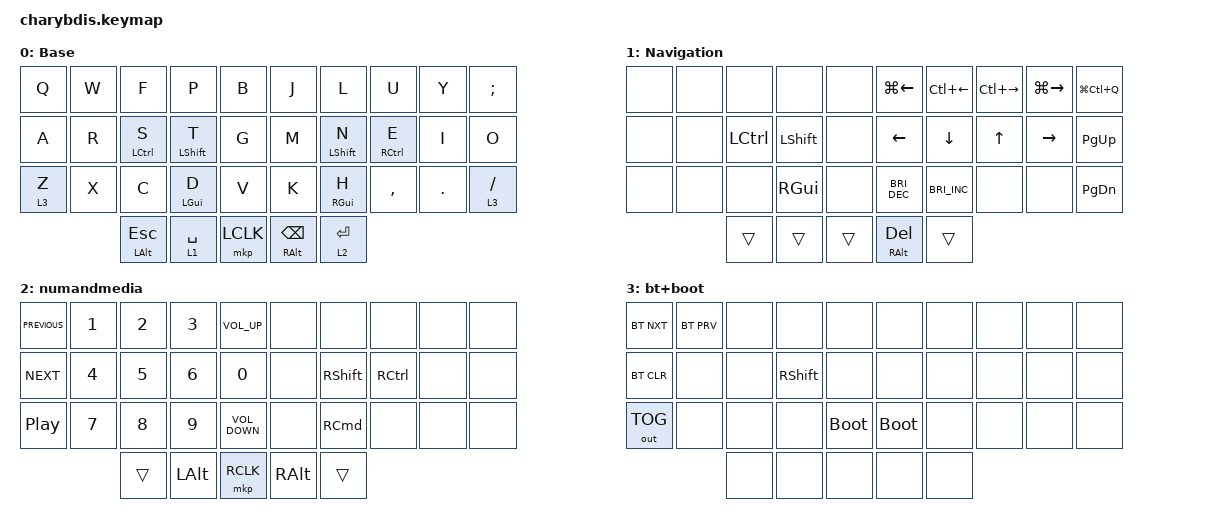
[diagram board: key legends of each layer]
#include <dt-bindings/zmk/mouse.h>
#include <behaviors.dtsi>
#include <dt-bindings/zmk/bt.h>
#include <dt-bindings/zmk/keys.h>
#include <dt-bindings/zmk/outputs.h>

/ {
    trackball_listener {
        compatible = "zmk,input-behavior-listener";
        device = <&vtrackball>;
        layers = <0>;
        evt-type = <INPUT_EV_REL>;
        x-input-code = <INPUT_REL_X>;
        y-input-code = <INPUT_REL_Y>;
        scale-multiplier = <1>;
        scale-divisor = <4>;
    };

    trackball_snipe_listener {
        compatible = "zmk,input-behavior-listener";
        device = <&vtrackball>;
        layers = <3>;
        evt-type = <INPUT_EV_REL>;
        x-input-code = <INPUT_REL_X>;
        y-input-code = <INPUT_REL_Y>;
        scale-multiplier = <1>;
        scale-divisor = <12>;
    };

    trackball_scroll_listener {
        compatible = "zmk,input-behavior-listener";
        device = <&vtrackball>;
        layers = <1>;
        evt-type = <INPUT_EV_REL>;
        x-input-code = <INPUT_REL_MISC>;
        y-input-code = <INPUT_REL_WHEEL>;
        y-invert;
        bindings = <&ib_wheel_scaler 1 32>;
    };

    ib_wheel_scaler: ib_wheel_scaler {
        compatible = "zmk,input-behavior-scaler";
        #binding-cells = <2>;
        evt-type = <INPUT_EV_REL>;
        input-code = <INPUT_REL_WHEEL>;
    };

    behaviors {
        lt: layer_tap {
            compatible = "zmk,behavior-hold-tap";
            #binding-cells = <2>;
            flavor = "balanced";
            tapping-term-ms = <240>;
            quick-tap-ms = <175>;
            bindings = <&mo>, <&kp>;

            require-prior-idle-ms = <175>;
        };

        slt: short_layer_tap {
            compatible = "zmk,behavior-hold-tap";
            #binding-cells = <2>;
            tapping-term-ms = <175>;
            quick-tap-ms = <175>;
            flavor = "balanced";
            bindings = <&mo>, <&kp>;

            require-prior-idle-ms = <175>;
        };

        bhm: balanced_homerow_mods {
            compatible = "zmk,behavior-hold-tap";
            #binding-cells = <2>;
            tapping-term-ms = <300>;
            quick-tap-ms = <255>;
            require-prior-idle-ms = <255>;
            flavor = "balanced";
            bindings = <&kp>, <&kp>;
        };
    };

    combos {
        compatible = "zmk,combos";

        leftbrace {
            bindings = <&kp LEFT_BRACE>;
            key-positions = <6 3>;
            require-prior-idle-ms = <100>;
        };

        rightbrace {
            bindings = <&kp RIGHT_BRACE>;
            key-positions = <2 7>;
            require-prior-idle-ms = <100>;
        };

        leftbracket {
            bindings = <&kp LEFT_BRACKET>;
            key-positions = <23 26>;
        };

        rightbracket {
            bindings = <&kp RIGHT_BRACKET>;
            key-positions = <22 27>;
        };

        leftparenthesis {
            bindings = <&kp LEFT_PARENTHESIS>;
            key-positions = <13 16>;
        };

        rightparenthesis {
            bindings = <&kp RIGHT_PARENTHESIS>;
            key-positions = <12 17>;
        };

        dash {
            bindings = <&kp MINUS>;
            key-positions = <6 7>;
        };

        quote {
            bindings = <&kp SQT>;
            key-positions = <16 17>;
        };

        tab {
            bindings = <&kp TAB>;
            key-positions = <13 12>;
        };

        backslash {
            bindings = <&kp BACKSLASH>;
            key-positions = <26 27>;
        };

        equals {
            bindings = <&kp EQUAL>;
            key-positions = <3 2>;
        };

        warpd {
            bindings = <&kp LA(LG(Z))>;
            key-positions = <34 31>;
        };

        caps {
            bindings = <&kp CAPSLOCK>;
            key-positions = <23 24>;
        };

        lefttab {
            bindings = <&kp LC(LS(TAB))>;
            key-positions = <12 11>;
        };

        righttab {
            bindings = <&kp LC(TAB)>;
            key-positions = <17 18>;
        };

        movetabright {
            bindings = <&kp LC(LS(PAGE_DOWN))>;
            key-positions = <27 28>;
        };

        movetableft {
            bindings = <&kp LC(LS(PAGE_UP))>;
            key-positions = <21 22>;
        };

        tick {
            bindings = <&kp GRAVE>;
            key-positions = <23 22>;
        };
    };

    keymap {
        compatible = "zmk,keymap";

        Base {
            label = "Base";
            bindings = <
  &kp Q     &kp W  &kp F                 &kp P              &kp B        &kp J                     &kp L              &kp U         &kp Y    &kp SEMICOLON
  &kp A     &kp R  &bhm LCTRL S          &bhm LEFT_SHIFT T  &kp G        &kp M                     &bhm LEFT_SHIFT N  &bhm RCTRL E  &kp I    &kp O
  &slt 3 Z  &kp X  &kp C                 &bhm LEFT_GUI D    &kp V        &kp K                     &bhm RIGHT_GUI H   &kp COMMA     &kp DOT  &slt 3 SLASH
                   &bhm LEFT_ALT ESCAPE  &slt 1 SPACE       &mkp LCLK    &bhm RIGHT_ALT BACKSPACE  &slt 2 ENTER
            >;
        };

        Navigation {
            label = "Navigation";
            bindings = <
  &none  &none  &none      &none           &none     &kp LG(LEFT_ARROW)     &kp LC(LEFT)          &kp LC(RIGHT)  &kp LG(RIGHT_ARROW)  &kp LG(LC(Q))
  &none  &none  &kp LCTRL  &kp LEFT_SHIFT  &none     &kp LEFT               &kp DOWN              &kp UP_ARROW   &kp RIGHT            &kp PAGE_UP
  &none  &none  &none      &kp RIGHT_GUI   &none     &kp C_BRIGHTNESS_DEC   &kp C_BRIGHTNESS_INC  &none          &none                &kp PAGE_DOWN
                &trans     &trans          &trans    &bhm RIGHT_ALT DELETE  &trans
            >;
        };

        numandmedia {
            label = "numandmedia";
            bindings = <
  &kp C_PREVIOUS    &kp N1  &kp N2  &kp N3        &kp C_VOLUME_UP      &none          &none            &none      &none  &none
  &kp C_NEXT        &kp N4  &kp N5  &kp N6        &kp N0               &none          &kp RIGHT_SHIFT  &kp RCTRL  &none  &none
  &kp C_PLAY_PAUSE  &kp N7  &kp N8  &kp N9        &kp C_VOLUME_DOWN    &none          &kp RCMD         &none      &none  &none
                            &trans  &kp LEFT_ALT  &mkp RCLK            &kp RIGHT_ALT  &trans
            >;
        };

        bt+boot {
            label = "bt+boot";
            bindings = <
  &bt BT_NXT    &bt BT_PRV  &none  &none            &none          &none        &none  &none  &none  &none
  &bt BT_CLR    &none       &none  &kp RIGHT_SHIFT  &none          &none        &none  &none  &none  &none
  &out OUT_TOG  &none       &none  &none            &bootloader    &bootloader  &none  &none  &none  &none
                            &none  &none            &none          &none        &none
            >;
        };
    };
};
